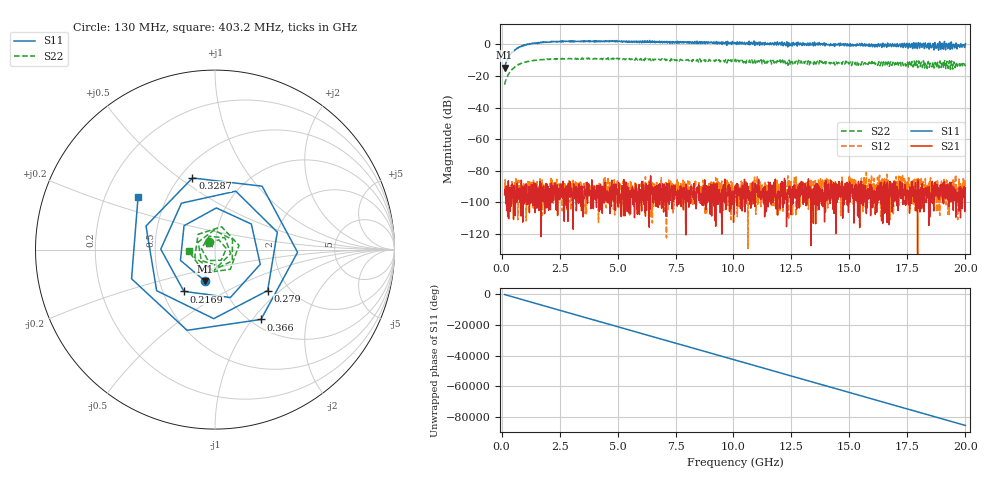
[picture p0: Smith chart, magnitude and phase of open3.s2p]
!Created with skrf (http://scikit-rf.org).
# GHz S RI R 50.0
!freq ReS11 ImS11 ReS21 ImS21 ReS12 ImS12 ReS22 ImS22
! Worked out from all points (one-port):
!   1601 points, 130 MHz to 20 GHz, reference 50 ohm
!   lowest |S11| = -14.7 dB at 130 MHz (marker M1), VSWR 1.45, Z = 42.1 - j15.2 ohm
!   |S11| at or under -10 dB: start of sweep to 239.7 MHz
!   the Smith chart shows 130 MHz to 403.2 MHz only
!   S11 on the Smith chart (normalised r, x): 130 MHz: 0.84, -0.30; 216.9 MHz: 0.64, -0.33; 279 MHz: 1.56, -0.83; 328.7 MHz: 0.58, +0.56; 366 MHz: 1.11, -1.10; 403.2 MHz: 0.34, +0.28
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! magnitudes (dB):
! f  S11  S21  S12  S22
! 130 MHz  -14.7  -95.1  -91.1  -25.5
! 216.9 MHz  -10.7  -93.8  -105.2  -21.3
! 279 MHz  -8.6  -98.1  -90.8  -19.3
! 328.7 MHz  -7.6  -92.0  -92.7  -18.3
! 366 MHz  -6.6  -105.6  -93.7  -17.3
! 403.2 MHz  -5.7  -100.7  -91.6  -16.7
! 788.2 MHz  -1.6  -99.8  -90.2  -12.7
! 1.297 GHz  0.5  -95.3  -89.2  -10.3
! 2.229 GHz  1.7  -93.2  -100.4  -9.3
! 3.446 GHz  2.0  -105.2  -99.9  -9.2
! 6.762 GHz  1.5  -98.5  -90.5  -9.5
! 10.06 GHz  0.9  -89.6  -89.8  -9.9
! 13.38 GHz  0.0  -92.0  -91.5  -11.8
! 13.72 GHz  0.5  -99.6  -95.3  -10.3
! 14.3 GHz  -0.5  -104.5  -95.4  -11.9
! 14.8 GHz  -0.5  -93.1  -97.8  -12.5
! 16.7 GHz  -1.2  -114.0  -94.4  -12.3
! 18.06 GHz  0.8  -101.7  -84.6  -13.1
! 18.75 GHz  -2.4  -95.6  -90.2  -14.1
! 18.99 GHz  0.6  -97.0  -96.8  -11.2
! 19.73 GHz  -0.6  -95.4  -85.2  -11.9
! 20 GHz  0.4  -90.7  -91.1  -13.2
